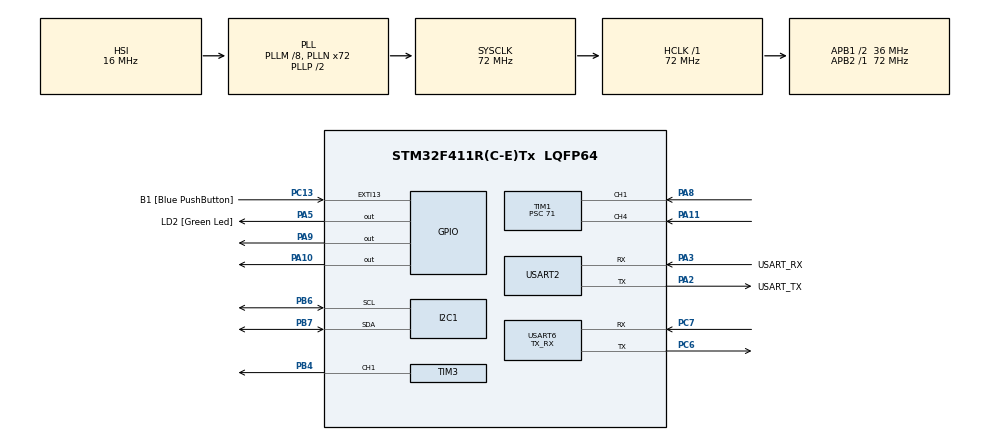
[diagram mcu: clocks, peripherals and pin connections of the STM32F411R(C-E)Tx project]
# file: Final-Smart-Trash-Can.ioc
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Mcu.Family=STM32F4
Mcu.Name=STM32F411R(C-E)Tx
Mcu.Package=LQFP64
NVIC.PriorityGroup=NVIC_PRIORITYGROUP_0
NVIC.TIM1_CC_IRQn=true\:0\:0\:false\:false\:true\:true\:true
NVIC.TIM3_IRQn=true\:0\:0\:false\:false\:true\:true\:true
NVIC.USART2_IRQn=true\:0\:0\:false\:false\:true\:true\:true
NVIC.USART6_IRQn=true\:0\:0\:false\:false\:true\:true\:true
PA0-WKUP.Signal=S_TIM2_CH1_ETR
PA10.Signal=GPIO_Output
PA11.Signal=S_TIM1_CH4
PA13.GPIO_Label=TMS
PA13.Mode=Serial_Wire
PA13.Signal=SYS_JTMS-SWDIO
PA14.GPIO_Label=TCK
PA14.Mode=Serial_Wire
PA14.Signal=SYS_JTCK-SWCLK
PA2.GPIO_Label=USART_TX
PA2.Mode=Asynchronous
PA2.Signal=USART2_TX
PA3.GPIO_Label=USART_RX
PA3.Mode=Asynchronous
PA3.Signal=USART2_RX
PA5.GPIO_Label=LD2 [Green Led]
PA5.Signal=GPIO_Output
PA8.Signal=S_TIM1_CH1
PA9.Signal=GPIO_Output
PB3.GPIO_Label=SWO
PB3.Signal=SYS_JTDO-SWO
PB4.Signal=S_TIM3_CH1
PB6.Mode=I2C
PB6.Signal=I2C1_SCL
PB7.Mode=I2C
PB7.Signal=I2C1_SDA
PC13-ANTI_TAMP.GPIO_Label=B1 [Blue PushButton]
PC13-ANTI_TAMP.GPIO_ModeDefaultEXTI=GPIO_MODE_IT_FALLING
PC13-ANTI_TAMP.Signal=GPXTI13
PC14-OSC32_IN.Signal=RCC_OSC32_IN
PC15-OSC32_OUT.Signal=RCC_OSC32_OUT
PC6.Mode=Asynchronous
PC6.Signal=USART6_TX
PC7.Mode=Asynchronous
PC7.Signal=USART6_RX
PH0\ -\ OSC_IN.Mode=HSE-External-Oscillator
PH0\ -\ OSC_IN.Signal=RCC_OSC_IN
PH1\ -\ OSC_OUT.Mode=HSE-External-Oscillator
PH1\ -\ OSC_OUT.Signal=RCC_OSC_OUT
ProjectManager.HeapSize=0x200
ProjectManager.StackSize=0x400
ProjectManager.TargetToolchain=STM32CubeIDE
RCC.48MHZClocksFreq_Value=36000000
RCC.AHBFreq_Value=72000000
RCC.APB1CLKDivider=RCC_HCLK_DIV2
RCC.APB1Freq_Value=36000000
RCC.APB1TimFreq_Value=72000000
RCC.APB2Freq_Value=72000000
RCC.APB2TimFreq_Value=72000000
RCC.CortexFreq_Value=72000000
RCC.FLatency-AdvancedSettings=FLASH_LATENCY_2
RCC.HCLKFreq_Value=72000000
RCC.HSE_VALUE=8000000
RCC.HSI_VALUE=16000000
RCC.LSE_VALUE=32768
RCC.PLLM=8
RCC.PLLN=72
RCC.SYSCLKFreq_VALUE=72000000
RCC.SYSCLKSource=RCC_SYSCLKSOURCE_PLLCLK
RCC.VCOOutputFreq_Value=144000000
SH.S_TIM1_CH1.0=TIM1_CH1,Input_Capture1_from_TI1
SH.S_TIM1_CH4.0=TIM1_CH4,Input_Capture4_from_TI4
SH.S_TIM2_CH1_ETR.0=TIM2_CH1
SH.S_TIM3_CH1.0=TIM3_CH1,PWM Generation1 CH1
TIM1.Channel-Input_Capture1_from_TI1=TIM_CHANNEL_1
TIM1.Channel-Input_Capture4_from_TI4=TIM_CHANNEL_4
TIM1.Period=65534
TIM1.Prescaler=71
TIM3.Channel-PWM\ Generation1\ CH1=TIM_CHANNEL_1
TIM3.Period=1023
TIM3.Prescaler=1405
TIM3.Pulse-PWM\ Generation1\ CH1=25
USART2.VirtualMode=VM_ASYNC
USART6.Mode=MODE_TX_RX
USART6.VirtualMode=VM_ASYNC
VP_TIM3_VS_ClockSourceINT.Mode=Internal
board=NUCLEO-F411RE

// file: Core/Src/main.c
/* USER CODE BEGIN Header */
/**
 ******************************************************************************
 * @file           : main.c
 * @brief          : Main program body
 ******************************************************************************
 * @attention
 *
 * <h2><center>&copy; Copyright (c) 2021 STMicroelectronics.
 * All rights reserved.</center></h2>
 *
 * This software component is licensed by ST under BSD 3-Clause license,
 * the "License"; You may not use this file except in compliance with the
 * License. You may obtain a copy of the License at:
 *                        opensource.org/licenses/BSD-3-Clause
 *
 ******************************************************************************
 */
/* USER CODE END Header */
#include "main.h"

/* USER CODE BEGIN Includes */
#include "../../ECUAL/SERVO/SERVO.h"
/* USER CODE END Includes */

/* USER CODE BEGIN PD */
#define TRIG_PIN GPIO_PIN_9
#define TRIG_PIN2 GPIO_PIN_10
#define TRIG_PORT GPIOA

#define SERVO_Motor1   0
/* USER CODE END PD */

I2C_HandleTypeDef hi2c1;

TIM_HandleTypeDef htim1;
TIM_HandleTypeDef htim3;

UART_HandleTypeDef huart2;
UART_HandleTypeDef huart6;

/* USER CODE BEGIN PV */
uint32_t IC_Val1 = 0;
uint32_t IC_Val2 = 0;
uint32_t IC_Val12 = 0;
uint32_t IC_Val22 = 0;

uint32_t Difference = 0;
uint32_t Difference2 = 0;

uint8_t Is_First_Captured = 0;  // is the first value captured ?
uint8_t Is_Second_Captured = 0;

uint8_t Distance = 0;
uint8_t Distance2 = 0;
uint8_t state = 0;
uint8_t time = 0;
uint8_t check = 0;
char c[8];

uint8_t CHECK_MAX = 3;
uint8_t TIME_MAX = 100;
uint8_t CCR_MAX = 100;
uint8_t CCR_MIN = 25;

/* USER CODE END PV */

void SystemClock_Config(void);
static void MX_GPIO_Init(void);
static void MX_USART2_UART_Init(void);
static void MX_TIM1_Init(void);
static void MX_I2C1_Init(void);
static void MX_TIM3_Init(void);
static void MX_USART6_UART_Init(void);

int main(void)
{

  /* MCU Configuration--------------------------------------------------------*/

  /* Reset of all peripherals, Initializes the Flash interface and the Systick. */
  HAL_Init();

  /* Configure the system clock */
  SystemClock_Config();

  /* Initialize all configured peripherals */
  MX_GPIO_Init();
  MX_USART2_UART_Init();
  MX_TIM1_Init();
  MX_I2C1_Init();
  MX_TIM3_Init();
  MX_USART6_UART_Init();
  /* USER CODE BEGIN 2 */
	HAL_TIM_IC_Start_IT(&htim1, TIM_CHANNEL_1);
	HAL_TIM_IC_Start_IT(&htim1, TIM_CHANNEL_4);
	HAL_TIM_PWM_Start(&htim3, TIM_CHANNEL_1);

//	SERVO_Init(SERVO_Motor1);

  /* USER CODE END 2 */

  /* Infinite loop */
	while (1) {

    /* USER CODE BEGIN 3 */
		if (HAL_UART_Receive(&huart6, &c, 8, 10) == HAL_OK) {
			if (state!=4 && !strcmp(c, "11111111")) {
				char c1[8] = "-1";
				HAL_UART_Transmit(&huart6, &c1, strlen(c1), 100);
				state = 4;
			} else if (state!=3 && !strcmp(c, "00000000")) {
				state = 3;
			}
		}
		HCSR04_Read();
		if (state == 0) {
			htim3.Instance->CCR1 = CCR_MIN;
			if (Distance < 30 && Distance > 2) {
				state = 1;
				check = CHECK_MAX;
			}
		} else if (state == 1) {
			if (Distance < 30 && Distance > 2) {
				check--;
			} else {
				state = 0;
			}
			if (check == 0) {
				state = 2;
				time = TIME_MAX;
				char c1[8] = "-1";
				HAL_UART_Transmit(&huart6, &c1, strlen(c1), 100);
			}
		} else if (state == 2) {
			htim3.Instance->CCR1 = CCR_MAX;
			if (Distance < 30 && Distance > 2) {
				time = TIME_MAX;
			} else {
				time--;
				if (time == 0) {
					state = 3;
				}
			}
		} else if (state == 3) {
			htim3.Instance->CCR1 = CCR_MIN;
			HAL_Delay(1500);
			HCSR04_Read2();
			HAL_Delay(500);
			state = 0;
			char c2[8];
			sprintf(c2,"%d", Distance2);
			HAL_UART_Transmit(&huart6, &c2, strlen(c2), 100);
		} else if (state == 4) {
			htim3.Instance->CCR1 = CCR_MAX;
		}
		HAL_Delay(15);
}
  /* USER CODE END 3 */
}

void SystemClock_Config(void)
{
  RCC_OscInitTypeDef RCC_OscInitStruct = {0};
  RCC_ClkInitTypeDef RCC_ClkInitStruct = {0};

  /** Configure the main internal regulator output voltage
  */
  __HAL_RCC_PWR_CLK_ENABLE();
  __HAL_PWR_VOLTAGESCALING_CONFIG(PWR_REGULATOR_VOLTAGE_SCALE1);
  /** Initializes the RCC Oscillators according to the specified parameters
  * in the RCC_OscInitTypeDef structure.
  */
  RCC_OscInitStruct.OscillatorType = RCC_OSCILLATORTYPE_HSI;
  RCC_OscInitStruct.HSIState = RCC_HSI_ON;
  RCC_OscInitStruct.HSICalibrationValue = RCC_HSICALIBRATION_DEFAULT;
  RCC_OscInitStruct.PLL.PLLState = RCC_PLL_ON;
  RCC_OscInitStruct.PLL.PLLSource = RCC_PLLSOURCE_HSI;
  RCC_OscInitStruct.PLL.PLLM = 8;
  RCC_OscInitStruct.PLL.PLLN = 72;
  RCC_OscInitStruct.PLL.PLLP = RCC_PLLP_DIV2;
  RCC_OscInitStruct.PLL.PLLQ = 4;
  if (HAL_RCC_OscConfig(&RCC_OscInitStruct) != HAL_OK)
  {
    Error_Handler();
  }
  /** Initializes the CPU, AHB and APB buses clocks
  */
  RCC_ClkInitStruct.ClockType = RCC_CLOCKTYPE_HCLK|RCC_CLOCKTYPE_SYSCLK
                              |RCC_CLOCKTYPE_PCLK1|RCC_CLOCKTYPE_PCLK2;
  RCC_ClkInitStruct.SYSCLKSource = RCC_SYSCLKSOURCE_PLLCLK;
  RCC_ClkInitStruct.AHBCLKDivider = RCC_SYSCLK_DIV1;
  RCC_ClkInitStruct.APB1CLKDivider = RCC_HCLK_DIV2;
  RCC_ClkInitStruct.APB2CLKDivider = RCC_HCLK_DIV1;

  if (HAL_RCC_ClockConfig(&RCC_ClkInitStruct, FLASH_LATENCY_2) != HAL_OK)
  {
    Error_Handler();
  }
}

static void MX_I2C1_Init(void)
{

  hi2c1.Instance = I2C1;
  hi2c1.Init.ClockSpeed = 100000;
  hi2c1.Init.DutyCycle = I2C_DUTYCYCLE_2;
  hi2c1.Init.OwnAddress1 = 0;
  hi2c1.Init.AddressingMode = I2C_ADDRESSINGMODE_7BIT;
  hi2c1.Init.DualAddressMode = I2C_DUALADDRESS_DISABLE;
  hi2c1.Init.OwnAddress2 = 0;
  hi2c1.Init.GeneralCallMode = I2C_GENERALCALL_DISABLE;
  hi2c1.Init.NoStretchMode = I2C_NOSTRETCH_DISABLE;
  if (HAL_I2C_Init(&hi2c1) != HAL_OK)
  {
    Error_Handler();
  }

}

static void MX_TIM1_Init(void)
{

  TIM_MasterConfigTypeDef sMasterConfig = {0};
  TIM_IC_InitTypeDef sConfigIC = {0};

  htim1.Instance = TIM1;
  htim1.Init.Prescaler = 71;
  htim1.Init.CounterMode = TIM_COUNTERMODE_UP;
  htim1.Init.Period = 65534;
  htim1.Init.ClockDivision = TIM_CLOCKDIVISION_DIV1;
  htim1.Init.RepetitionCounter = 0;
  htim1.Init.AutoReloadPreload = TIM_AUTORELOAD_PRELOAD_DISABLE;
  if (HAL_TIM_IC_Init(&htim1) != HAL_OK)
  {
    Error_Handler();
  }
  sMasterConfig.MasterOutputTrigger = TIM_TRGO_RESET;
  sMasterConfig.MasterSlaveMode = TIM_MASTERSLAVEMODE_DISABLE;
  if (HAL_TIMEx_MasterConfigSynchronization(&htim1, &sMasterConfig) != HAL_OK)
  {
    Error_Handler();
  }
  sConfigIC.ICPolarity = TIM_INPUTCHANNELPOLARITY_RISING;
  sConfigIC.ICSelection = TIM_ICSELECTION_DIRECTTI;
  sConfigIC.ICPrescaler = TIM_ICPSC_DIV1;
  sConfigIC.ICFilter = 0;
  if (HAL_TIM_IC_ConfigChannel(&htim1, &sConfigIC, TIM_CHANNEL_1) != HAL_OK)
  {
    Error_Handler();
  }
  if (HAL_TIM_IC_ConfigChannel(&htim1, &sConfigIC, TIM_CHANNEL_4) != HAL_OK)
  {
    Error_Handler();
  }

}

static void MX_TIM3_Init(void)
{

  TIM_ClockConfigTypeDef sClockSourceConfig = {0};
  TIM_MasterConfigTypeDef sMasterConfig = {0};
  TIM_OC_InitTypeDef sConfigOC = {0};

  htim3.Instance = TIM3;
  htim3.Init.Prescaler = 1405;
  htim3.Init.CounterMode = TIM_COUNTERMODE_UP;
  htim3.Init.Period = 1023;
  htim3.Init.ClockDivision = TIM_CLOCKDIVISION_DIV1;
  htim3.Init.AutoReloadPreload = TIM_AUTORELOAD_PRELOAD_DISABLE;
  if (HAL_TIM_Base_Init(&htim3) != HAL_OK)
  {
    Error_Handler();
  }
  sClockSourceConfig.ClockSource = TIM_CLOCKSOURCE_INTERNAL;
  if (HAL_TIM_ConfigClockSource(&htim3, &sClockSourceConfig) != HAL_OK)
  {
    Error_Handler();
  }
  if (HAL_TIM_PWM_Init(&htim3) != HAL_OK)
  {
    Error_Handler();
  }
  sMasterConfig.MasterOutputTrigger = TIM_TRGO_RESET;
  sMasterConfig.MasterSlaveMode = TIM_MASTERSLAVEMODE_DISABLE;
  if (HAL_TIMEx_MasterConfigSynchronization(&htim3, &sMasterConfig) != HAL_OK)
  {
    Error_Handler();
  }
  sConfigOC.OCMode = TIM_OCMODE_PWM1;
  sConfigOC.Pulse = 25;
  sConfigOC.OCPolarity = TIM_OCPOLARITY_HIGH;
  sConfigOC.OCFastMode = TIM_OCFAST_DISABLE;
  if (HAL_TIM_PWM_ConfigChannel(&htim3, &sConfigOC, TIM_CHANNEL_1) != HAL_OK)
  {
    Error_Handler();
  }
  HAL_TIM_MspPostInit(&htim3);

}

static void MX_USART2_UART_Init(void)
{

  huart2.Instance = USART2;
  huart2.Init.BaudRate = 115200;
  huart2.Init.WordLength = UART_WORDLENGTH_8B;
  huart2.Init.StopBits = UART_STOPBITS_1;
  huart2.Init.Parity = UART_PARITY_NONE;
  huart2.Init.Mode = UART_MODE_TX_RX;
  huart2.Init.HwFlowCtl = UART_HWCONTROL_NONE;
  huart2.Init.OverSampling = UART_OVERSAMPLING_16;
  if (HAL_UART_Init(&huart2) != HAL_OK)
  {
    Error_Handler();
  }

}

static void MX_USART6_UART_Init(void)
{

  huart6.Instance = USART6;
  huart6.Init.BaudRate = 115200;
  huart6.Init.WordLength = UART_WORDLENGTH_8B;
  huart6.Init.StopBits = UART_STOPBITS_1;
  huart6.Init.Parity = UART_PARITY_NONE;
  huart6.Init.Mode = UART_MODE_TX_RX;
  huart6.Init.HwFlowCtl = UART_HWCONTROL_NONE;
  huart6.Init.OverSampling = UART_OVERSAMPLING_16;
  if (HAL_UART_Init(&huart6) != HAL_OK)
  {
    Error_Handler();
  }

}

static void MX_GPIO_Init(void)
{
  GPIO_InitTypeDef GPIO_InitStruct = {0};

  /* GPIO Ports Clock Enable */
  __HAL_RCC_GPIOC_CLK_ENABLE();
  __HAL_RCC_GPIOH_CLK_ENABLE();
  __HAL_RCC_GPIOA_CLK_ENABLE();
  __HAL_RCC_GPIOB_CLK_ENABLE();

  /*Configure GPIO pin Output Level */
  HAL_GPIO_WritePin(GPIOA, LD2_Pin|GPIO_PIN_9|GPIO_PIN_10, GPIO_PIN_RESET);

  /*Configure GPIO pin : B1_Pin */
  GPIO_InitStruct.Pin = B1_Pin;
  GPIO_InitStruct.Mode = GPIO_MODE_IT_FALLING;
  GPIO_InitStruct.Pull = GPIO_NOPULL;
  HAL_GPIO_Init(B1_GPIO_Port, &GPIO_InitStruct);

  /*Configure GPIO pin : PA0 */
  GPIO_InitStruct.Pin = GPIO_PIN_0;
  GPIO_InitStruct.Mode = GPIO_MODE_AF_PP;
  GPIO_InitStruct.Pull = GPIO_NOPULL;
  GPIO_InitStruct.Speed = GPIO_SPEED_FREQ_LOW;
  GPIO_InitStruct.Alternate = GPIO_AF1_TIM2;
  HAL_GPIO_Init(GPIOA, &GPIO_InitStruct);

  /*Configure GPIO pins : LD2_Pin PA9 PA10 */
  GPIO_InitStruct.Pin = LD2_Pin|GPIO_PIN_9|GPIO_PIN_10;
  GPIO_InitStruct.Mode = GPIO_MODE_OUTPUT_PP;
  GPIO_InitStruct.Pull = GPIO_NOPULL;
  GPIO_InitStruct.Speed = GPIO_SPEED_FREQ_LOW;
  HAL_GPIO_Init(GPIOA, &GPIO_InitStruct);

}

/* USER CODE BEGIN 4 */
void HAL_TIM_IC_CaptureCallback(TIM_HandleTypeDef *htim) {
  // if the interrupt source is channel1
if (htim->Channel == HAL_TIM_ACTIVE_CHANNEL_1) {
  // if the first value is not captured
if (Is_First_Captured == 0) {
IC_Val1 = HAL_TIM_ReadCapturedValue(htim, TIM_CHANNEL_1); // read the first value
Is_First_Captured = 1;  // set the first captured as true
// Now change the polarity to falling edge
__HAL_TIM_SET_CAPTUREPOLARITY(htim, TIM_CHANNEL_1,
	TIM_INPUTCHANNELPOLARITY_FALLING);
}
  // if the first is already captured
else if (Is_First_Captured == 1) {
IC_Val2 = HAL_TIM_ReadCapturedValue(htim, TIM_CHANNEL_1); // read second value
__HAL_TIM_SET_COUNTER(htim, 0);  // reset the counter

if (IC_Val2 > IC_Val1) {
Difference = IC_Val2 - IC_Val1;
} else if (IC_Val1 > IC_Val2) {
Difference = (0xffff - IC_Val1) + IC_Val2;
}

Distance = Difference * .034 / 2;

Is_First_Captured = 0; // set it back to false

 // set polarity to rising edge
__HAL_TIM_SET_CAPTUREPOLARITY(htim, TIM_CHANNEL_1,
	TIM_INPUTCHANNELPOLARITY_RISING);
__HAL_TIM_DISABLE_IT(&htim1, TIM_IT_CC1);
}
}

else if (htim->Channel == HAL_TIM_ACTIVE_CHANNEL_4) {
  // if the first value is not captured
if (Is_Second_Captured == 0) {
IC_Val12 = HAL_TIM_ReadCapturedValue(htim, TIM_CHANNEL_4); // read the first value
Is_Second_Captured = 1;  // set the first captured as true
// Now change the polarity to falling edge
__HAL_TIM_SET_CAPTUREPOLARITY(htim, TIM_CHANNEL_4,
	TIM_INPUTCHANNELPOLARITY_FALLING);
}
  // if the first is already captured
else if (Is_Second_Captured == 1) {
IC_Val22 = HAL_TIM_ReadCapturedValue(htim, TIM_CHANNEL_4); // read second value
__HAL_TIM_SET_COUNTER(htim, 0);  // reset the counter

if (IC_Val22 > IC_Val12) {
Difference2 = IC_Val22 - IC_Val12;
} else if (IC_Val12 > IC_Val22) {
Difference2 = (0xffff - IC_Val12) + IC_Val22;
}

Distance2 = Difference2 * .034 / 2;

Is_Second_Captured = 0; // set it back to false

 // set polarity to rising edge
__HAL_TIM_SET_CAPTUREPOLARITY(htim, TIM_CHANNEL_4,
	TIM_INPUTCHANNELPOLARITY_RISING);
__HAL_TIM_DISABLE_IT(&htim1, TIM_IT_CC4);
}
}

}

void HCSR04_Read(void) {
HAL_GPIO_WritePin(TRIG_PORT, TRIG_PIN, GPIO_PIN_SET); // pull the TRIG pin HIGH
delay(10);  // wait for 10 us
HAL_GPIO_WritePin(TRIG_PORT, TRIG_PIN, GPIO_PIN_RESET); // pull the TRIG pin low

__HAL_TIM_ENABLE_IT(&htim1, TIM_IT_CC1);

}

void HCSR04_Read2(void) {
HAL_GPIO_WritePin(TRIG_PORT, TRIG_PIN2, GPIO_PIN_SET); // pull the TRIG pin HIGH
delay(10);  // wait for 10 us
HAL_GPIO_WritePin(TRIG_PORT, TRIG_PIN2, GPIO_PIN_RESET); // pull the TRIG pin low

__HAL_TIM_ENABLE_IT(&htim1, TIM_IT_CC4);

}

void delay(uint16_t time) {
__HAL_TIM_SET_COUNTER(&htim1, 0);
while (__HAL_TIM_GET_COUNTER(&htim1) < time)
;
}
/* USER CODE END 4 */

void Error_Handler(void)
{
__disable_irq();
while (1) {
}
}

/************************ (C) COPYRIGHT STMicroelectronics *****END OF FILE****/
